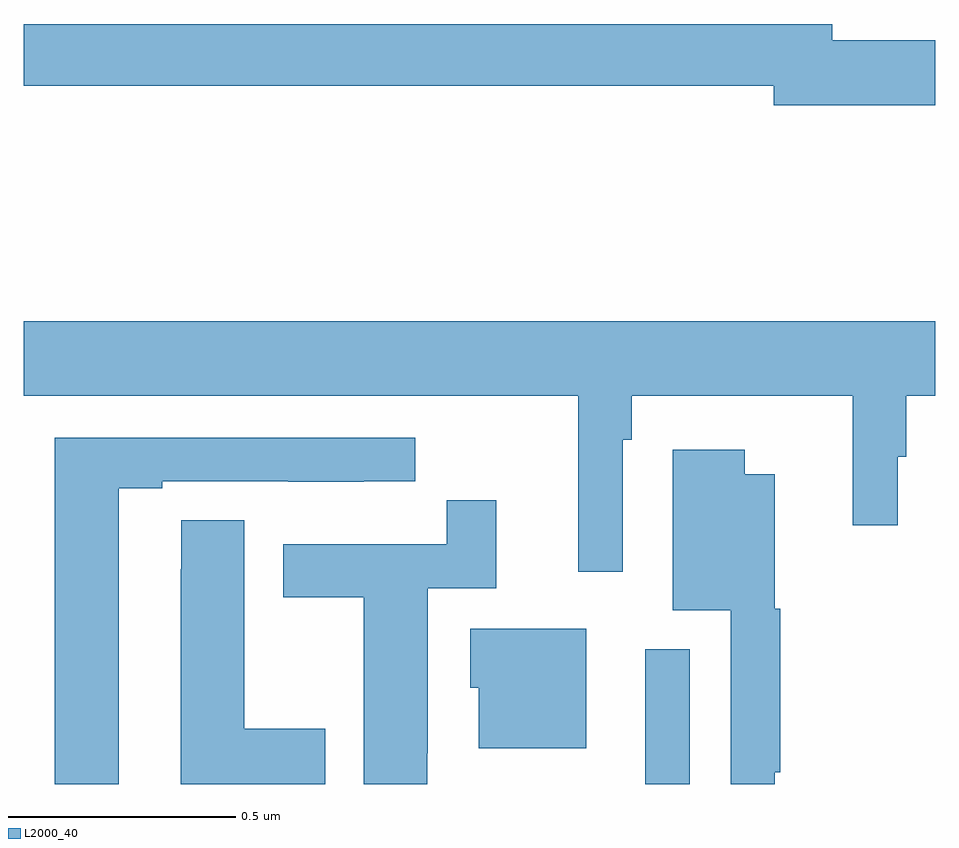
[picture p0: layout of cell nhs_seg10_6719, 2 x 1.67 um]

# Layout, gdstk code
import gdstk
lib = gdstk.Library(unit=1e-6, precision=1e-09)
def R(c, l, rs):  # rectangles x0, y0, x1, y1
    for r in rs: c.add(gdstk.rectangle(r[:2], r[2:], *l))
def P(c, l, *ps):  # polygons
    for p in ps: c.add(gdstk.Polygon(p, *l))
L2000_40 = (2000, 40)

nhs_seg10_6719 = lib.new_cell('nhs_seg10_6719')
R(nhs_seg10_6719, L2000_40, [(196.364,1263.5,196.461,1263.796)])
P(nhs_seg10_6719, L2000_40, [(197,1265.132),(196.774,1265.132),(196.774,1265.168),(195,1265.168),(195,1265.032),(196.646,1265.032),(196.646,1264.99),(197,1264.99)],
  [(196.314,1264.256),(196.334,1264.256),(196.334,1264.352),(196.819,1264.352),(196.819,1264.068),(196.918,1264.068),(196.918,1264.218),(196.937,1264.218),(196.937,1264.352),(197,1264.352),(197,1264.516),(195,1264.516),(195,1264.352),(196.217,1264.352),(196.217,1263.966),(196.314,1263.966)],
  [(195.208,1264.149),(195.304,1264.149),(195.304,1264.164),(195.58,1264.164),(195.58,1264.163),(195.746,1264.163),(195.746,1264.164),(195.859,1264.164),(195.859,1264.26),(195.068,1264.26),(195.068,1263.5),(195.208,1263.5)],
  [(196.648,1263.526),(196.66,1263.526),(196.66,1263.885),(196.648,1263.885),(196.648,1264.18),(196.582,1264.18),(196.582,1264.234),(196.424,1264.234),(196.424,1263.881),(196.551,1263.881),(196.551,1263.5),(196.648,1263.5)],
  [(195.885,1263.568),(195.886,1263.568),(195.886,1263.93),(196.037,1263.93),(196.037,1264.123),(195.928,1264.123),(195.928,1264.026),(195.569,1264.026),(195.569,1263.91),(195.746,1263.91),(195.746,1263.5),(195.885,1263.5)],
  [(195.661,1263.621),(195.484,1263.621),(195.484,1264.079),(195.345,1264.079),(195.345,1263.971),(195.344,1263.971),(195.344,1263.5),(195.661,1263.5)],
  [(196.234,1263.841),(195.98,1263.841),(195.98,1263.711),(195.998,1263.711),(195.998,1263.578),(196.234,1263.578)])

lib.write_gds('nhs_seg10_6719.gds')
